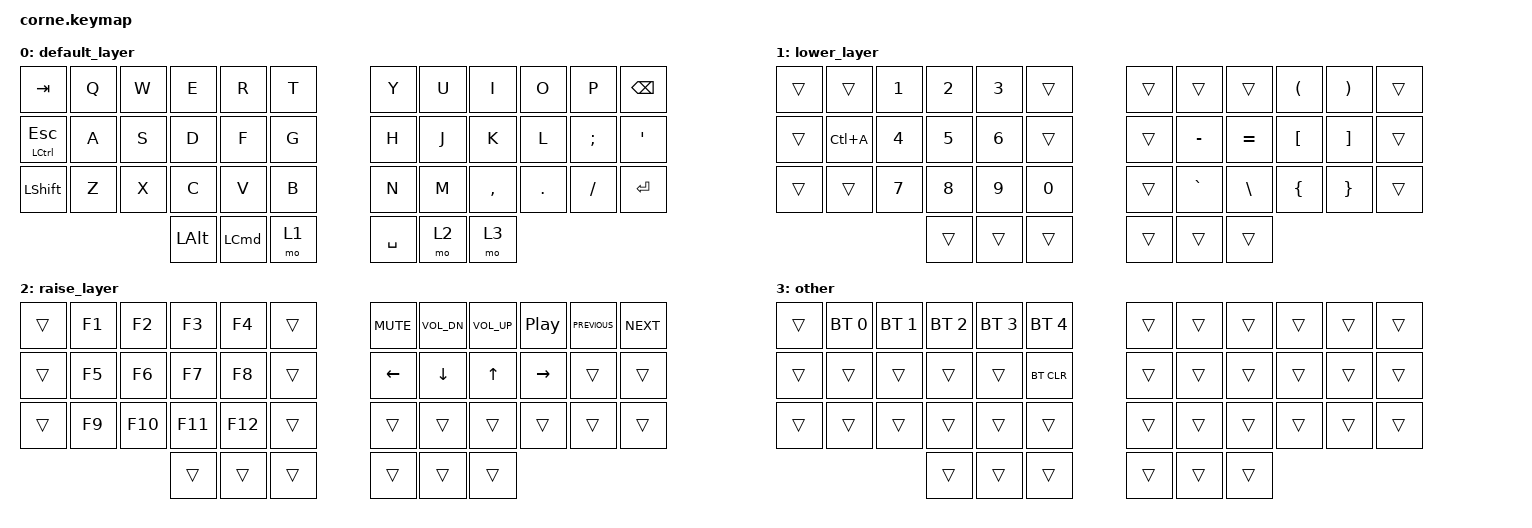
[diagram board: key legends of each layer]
/*
 * Copyright (c) 2020 The ZMK Contributors
 *
 * SPDX-License-Identifier: MIT
 */

#include <behaviors.dtsi>
#include <dt-bindings/zmk/bt.h>
#include <dt-bindings/zmk/keys.h>

/ {
    keymap {
        compatible = "zmk,keymap";

        default_layer {
            // -----------------------------------------------------------------------------------------
            // |  TAB |  Q  |  W  |  E  |  R  |  T  |   |  Y  |  U   |  I  |  O  |  P  | BKSP |
            // | CTRL |  A  |  S  |  D  |  F  |  G  |   |  H  |  J   |  K  |  L  |  ;  |  '   |
            // | SHFT |  Z  |  X  |  C  |  V  |  B  |   |  N  |  M   |  ,  |  .  |  /  | ESC  |
            //                    | GUI | LWR | SPC |   | ENT | RSE  | ALT |

            bindings = <
&kp TAB           &kp Q  &kp W  &kp E     &kp R             &kp T    &kp Y      &kp U  &kp I      &kp O    &kp P     &kp BSPC
&mt LCTRL ESCAPE  &kp A  &kp S  &kp D     &kp F             &kp G    &kp H      &kp J  &kp K      &kp L    &kp SEMI  &kp SQT
&kp LSHFT         &kp Z  &kp X  &kp C     &kp V             &kp B    &kp N      &kp M  &kp COMMA  &kp DOT  &kp FSLH  &kp RETURN
                                &kp LALT  &kp LEFT_COMMAND  &mo 1    &kp SPACE  &mo 2  &mo 3
            >;
        };

        lower_layer {
            // -----------------------------------------------------------------------------------------
            // |  TAB |  1  |  2  |  3  |  4  |  5  |   |  6  |  7  |  8  |  9  |  0  | BKSP |
            // | BTCLR| BT1 | BT2 | BT3 | BT4 | BT5 |   | LFT | DWN |  UP | RGT |     |      |
            // | SHFT |     |     |     |     |     |   |     |     |     |     |     |      |
            //                    | GUI |     | SPC |   | ENT |     | ALT |

            bindings = <
&trans  &trans     &kp N1  &kp N2  &kp N3  &trans          &trans  &trans     &trans     &kp LEFT_PARENTHESIS  &kp RIGHT_PARENTHESIS  &trans
&trans  &kp LC(A)  &kp N4  &kp N5  &kp N6  &trans          &trans  &kp MINUS  &kp EQUAL  &kp LBKT              &kp RBKT               &trans
&trans  &trans     &kp N7  &kp N8  &kp N9  &kp NUMBER_0    &trans  &kp GRAVE  &kp BSLH   &kp LEFT_BRACE        &kp RIGHT_BRACE        &trans
                           &trans  &trans  &trans          &trans  &trans     &trans
            >;
        };

        raise_layer {
            // -----------------------------------------------------------------------------------------
            // |  TAB |  !  |  @  |  #  |  $  |  %  |   |  ^  |  &  |  *  |  (  |  )  | BKSP |
            // | CTRL |     |     |     |     |     |   |  -  |  =  |  [  |  ]  |  \  |  `   |
            // | SHFT |     |     |     |     |     |   |  _  |  +  |  {  |  }  | "|" |  ~   |
            //                    | GUI |     | SPC |   | ENT |     | ALT |

            bindings = <
&trans  &kp F1  &kp F2   &kp F3   &kp F4   &trans    &kp K_MUTE  &kp C_VOL_DN  &kp C_VOLUME_UP  &kp C_PLAY_PAUSE  &kp C_PREVIOUS  &kp C_NEXT
&trans  &kp F5  &kp F6   &kp F7   &kp F8   &trans    &kp LEFT    &kp DOWN      &kp UP_ARROW     &kp RIGHT         &trans          &trans
&trans  &kp F9  &kp F10  &kp F11  &kp F12  &trans    &trans      &trans        &trans           &trans            &trans          &trans
                         &trans   &trans   &trans    &trans      &trans        &trans
            >;
        };

        other {
            bindings = <
&trans  &bt BT_SEL 0  &bt BT_SEL 1  &bt BT_SEL 2  &bt BT_SEL 3  &bt BT_SEL 4    &trans  &trans  &trans  &trans  &trans  &trans
&trans  &trans        &trans        &trans        &trans        &bt BT_CLR      &trans  &trans  &trans  &trans  &trans  &trans
&trans  &trans        &trans        &trans        &trans        &trans          &trans  &trans  &trans  &trans  &trans  &trans
                                    &trans        &trans        &trans          &trans  &trans  &trans
            >;
        };
    };
};
